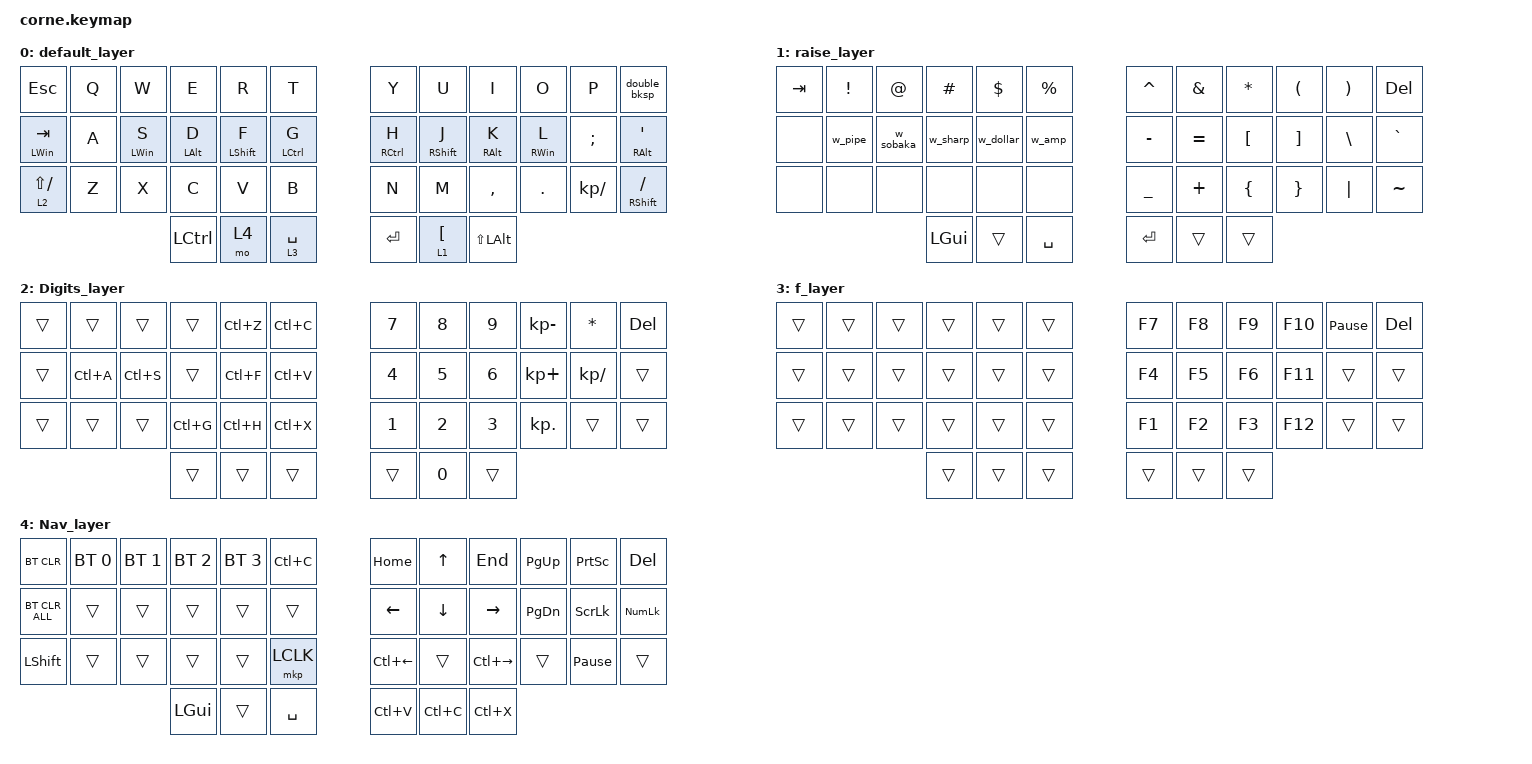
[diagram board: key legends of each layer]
/*
 * Copyright (c) 2020 The ZMK Contributors
 *
 * SPDX-License-Identifier: MIT
 */

#include <behaviors.dtsi>
#include <dt-bindings/zmk/bt.h>
#include <dt-bindings/zmk/keys.h>
#include <dt-bindings/zmk/pointing.h>

/ {
    behaviors {
        double_bksp: double_bksp {
            compatible = "zmk,behavior-tap-dance";
            label = "DOUBLE_BKSP";
            #binding-cells = <0>;
            bindings = <&kp BACKSPACE>, <&kp LC(BACKSPACE)>;

            tapping-term-ms = <250>;
        };

        hrl: home_row_left {
            compatible = "zmk,behavior-hold-tap";
            label = "HOME_ROW_LEFT";
            bindings = <&kp>, <&kp>;

            #binding-cells = <2>;
            tapping-term-ms = <265>;
            flavor = "balanced";
        };

        hrr: home_row_right {
            compatible = "zmk,behavior-hold-tap";
            label = "HOME_ROW_RIGHT";
            bindings = <&kp>, <&kp>;

            #binding-cells = <2>;
            tapping-term-ms = <265>;
            hold-trigger-key-positions = <38 37 36 29 28 26 25 24 17 16 15 14 13 12 0 1 2 3 4 5 28 29 37 38 0 1 2 3 4 5 12 13 14 15 16 17 24 25 26 27 28 29 36 37 38>;
            flavor = "balanced";
        };
    };

    macros {
        w_amp: w_amp {
            compatible = "zmk,behavior-macro";
            #binding-cells = <0>;
            bindings =
                <&macro_press>,
                <&kp LALT>,
                <&macro_tap>,
                <&kp KP_NUMBER_0 &kp KP_NUMBER_3 &kp KP_NUMBER_8>,
                <&macro_release>,
                <&kp LEFT_ALT>;

            label = "W_AMP";
        };

        w_sharp: w_sharp {
            compatible = "zmk,behavior-macro";
            #binding-cells = <0>;
            bindings =
                <&macro_press>,
                <&kp LALT>,
                <&macro_tap>,
                <&kp KP_NUMBER_0 &kp KP_NUMBER_3 &kp KP_NUMBER_5>,
                <&macro_release>,
                <&kp LEFT_ALT>;

            label = "W_SHARP";
        };

        w_pipe: w_pipe {
            compatible = "zmk,behavior-macro";
            #binding-cells = <0>;
            bindings =
                <&macro_press>,
                <&kp LALT>,
                <&macro_tap>,
                <&kp KP_NUMBER_1 &kp KP_NUMBER_2 &kp KP_NUMBER_4>,
                <&macro_release>,
                <&kp LEFT_ALT>;

            label = "W_PIPE";
        };

        w_sobaka: w_sobaka {
            compatible = "zmk,behavior-macro";
            #binding-cells = <0>;
            bindings =
                <&macro_press>,
                <&kp LALT>,
                <&macro_tap>,
                <&kp KP_NUMBER_0 &kp KP_NUMBER_6 &kp KP_NUMBER_4>,
                <&macro_release>,
                <&kp LEFT_ALT>;

            label = "W_SOBAKA";
        };

        w_dollar: w_dollar {
            compatible = "zmk,behavior-macro";
            #binding-cells = <0>;
            bindings =
                <&macro_press>,
                <&kp LALT>,
                <&macro_tap>,
                <&kp KP_NUMBER_0 &kp KP_NUMBER_3 &kp KP_NUMBER_6>,
                <&macro_release>,
                <&kp LEFT_ALT>;

            label = "W_DOLLAR";
        };

        w_dot: w_dot {
            compatible = "zmk,behavior-macro";
            #binding-cells = <0>;
            bindings =
                <&macro_press>,
                <&kp LALT>,
                <&macro_tap>,
                <&kp KP_NUMBER_0 &kp KP_NUMBER_4 &kp KP_NUMBER_6>,
                <&macro_release>,
                <&kp LEFT_ALT>;

            label = "W_DOT";
        };
    };

    combos {
        compatible = "zmk,combos";

        amp {
            bindings = <&w_amp>;
            key-positions = <7 8>;
            layers = <0>;
        };

        sharp {
            bindings = <&w_sharp>;
            key-positions = <2 3>;
            layers = <0>;
        };

        pipe {
            bindings = <&w_pipe>;
            key-positions = <22 34>;
            layers = <0>;
        };

        ctrl_shift_esc {
            bindings = <&kp LC(LS(ESCAPE))>;
            key-positions = <12 24>;
            layers = <0>;
        };

        ctrl_alt_del {
            bindings = <&kp LA(LC(DEL))>;
            key-positions = <24 35>;
        };

        win_d {
            bindings = <&kp LG(D)>;
            key-positions = <13 25>;
            layers = <0>;
        };

        win_r {
            bindings = <&kp LG(R)>;
            key-positions = <4 16>;
            layers = <0>;
        };

        b_combo {
            bindings = <&kp RIGHT_BRACKET>;
            key-positions = <31 19>;
            layers = <0>;
        };

        ee_combo {
            bindings = <&kp GRAVE>;
            key-positions = <5 4>;
            layers = <0>;
        };
    };

    keymap {
        compatible = "zmk,keymap";

        default_layer {
            // -----------------------------------------------------------------------------------------
            // |  ESC |  Q  |  W  |  E  |  R  |  T  |   |  Y  |  U   |  I  |  O  |  P  | BSPC |
            // |  TAB |  A  |  S  |  D  |  F  |  G  |   |  H  |  J   |  K  |  L  |  ;  |  '   |
            // |LY2\. |  Z  |  X  |  C  |  V  |  B  |   |  N  |  M   |  ,  |  .  |  /  |   /  |
            //                    |RU/EN| LY4 | SPC |   | ENT | LY1/[|RU/EN|

            bindings = <
&kp ESC           &kp Q  &kp W            &kp E            &kp R              &kp T           &kp Y         &kp U               &kp I             &kp O             &kp P          &double_bksp
&mt LEFT_WIN TAB  &kp A  &hrl LEFT_WIN S  &hrl LEFT_ALT D  &hrl LEFT_SHIFT F  &hrl LCTRL G    &hrr RCTRL H  &hrr RIGHT_SHIFT J  &hrr RIGHT_ALT K  &hrr RIGHT_WIN L  &kp SEMI       &mt RIGHT_ALT SQT
&lt 2 LS(FSLH)    &kp Z  &kp X            &kp C            &kp V              &kp B           &kp N         &kp M               &kp COMMA         &kp DOT           &kp KP_DIVIDE  &mt RIGHT_SHIFT SLASH
                                          &kp LCTRL        &mo 4              &lt 3 SPACE     &kp RETURN    &lt 1 LEFT_BRACKET  &kp LS(LALT)
            >;
        };

        raise_layer {
            // -----------------------------------------------------------------------------------------
            // |  TAB |  !  |  @  |  #  |  $  |  %  |   |  ^  |  &  |  *  |  (  |  )  |  DEL |
            // | CTRL | "|" | _@  |  _# | _$  | _&  |   |  -  |  =  |  [  |  ]  |  \  |  `   |
            // | SHFT |     |     |     |     |     |   |  _  |  +  |  {  |  }  | "|" |  ~   |
            //                    | GUI |     | SPC |   | ENT |     | ALT |

            bindings = <
&kp TAB  &kp EXCL  &kp AT_SIGN  &kp HASH  &kp DLLR   &kp PRCNT    &kp CARET  &kp AMPS   &kp ASTRK       &kp LPAR         &kp RPAR  &kp DEL
&none    &w_pipe   &w_sobaka    &w_sharp  &w_dollar  &w_amp       &kp MINUS  &kp EQUAL  &kp LBKT        &kp RBKT         &kp BSLH  &kp GRAVE
&none    &none     &none        &none     &none      &none        &kp UNDER  &kp PLUS   &kp LEFT_BRACE  &kp RIGHT_BRACE  &kp PIPE  &kp TILDE
                                &kp LGUI  &trans     &kp SPACE    &kp RET    &trans     &trans
            >;
        };

        Digits_layer {
            bindings = <
&trans  &trans     &trans     &trans     &kp LC(Z)  &kp LC(C)    &kp N7  &kp N8        &kp N9  &kp KP_MINUS  &kp ASTERISK  &kp DEL
&trans  &kp LC(A)  &kp LC(S)  &trans     &kp LC(F)  &kp LC(V)    &kp N4  &kp N5        &kp N6  &kp KP_PLUS   &kp KP_SLASH  &trans
&trans  &trans     &trans     &kp LC(G)  &kp LC(H)  &kp LC(X)    &kp N1  &kp N2        &kp N3  &kp KP_DOT    &trans        &trans
                              &trans     &trans     &trans       &trans  &kp NUMBER_0  &trans
            >;
        };

        f_layer {
            bindings = <
&trans  &trans  &trans  &trans  &trans  &trans    &kp F7  &kp F8  &kp F9  &kp F10  &kp PAUSE_BREAK  &kp DELETE
&trans  &trans  &trans  &trans  &trans  &trans    &kp F4  &kp F5  &kp F6  &kp F11  &trans           &trans
&trans  &trans  &trans  &trans  &trans  &trans    &kp F1  &kp F2  &kp F3  &kp F12  &trans           &trans
                        &trans  &trans  &trans    &trans  &trans  &trans
            >;
        };

        Nav_layer {
            // -----------------------------------------------------------------------------------------
            // |  TAB |  1  |  2  |  3  |  4  |  5  |   |  6  |  7  |  8  |  9  |  0  | BSPC |
            // | BTCLR| BT1 | BT2 | BT3 | BT4 | BT5 |   | LFT | DWN |  UP | RGT |     |      |
            // | SHFT |     |     |     |     |     |   |     |     |     |     |     |      |
            //                    | GUI |     | SPC |   | ENT |     | ALT |

            bindings = <
&bt BT_CLR      &bt BT_SEL 0  &bt BT_SEL 1  &bt BT_SEL 2  &bt BT_SEL 3  &kp LC(C)    &kp HOME            &kp UP_ARROW  &kp END              &kp PG_UP      &kp PRINTSCREEN  &kp DELETE
&bt BT_CLR_ALL  &trans        &trans        &trans        &trans        &trans       &kp LEFT            &kp DOWN      &kp RIGHT            &kp PAGE_DOWN  &kp SCROLLLOCK   &kp KP_NUMLOCK
&kp LSHFT       &trans        &trans        &trans        &trans        &mkp LCLK    &kp LC(LEFT_ARROW)  &trans        &kp LC(RIGHT_ARROW)  &trans         &kp PAUSE_BREAK  &trans
                                            &kp LGUI      &trans        &kp SPACE    &kp LC(V)           &kp LC(C)     &kp LC(X)
            >;
        };
    };
};
